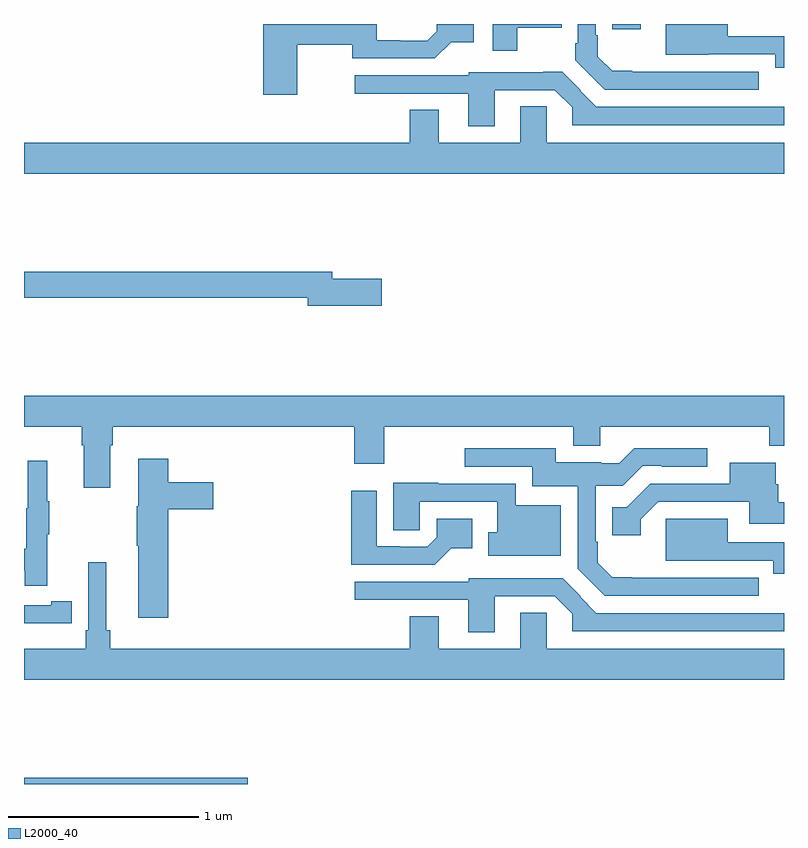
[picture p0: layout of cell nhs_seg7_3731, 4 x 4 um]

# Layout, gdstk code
import gdstk
lib = gdstk.Library(unit=1e-6, precision=1e-09)
def R(c, l, rs):  # rectangles x0, y0, x1, y1
    for r in rs: c.add(gdstk.rectangle(r[:2], r[2:], *l))
def P(c, l, *ps):  # polygons
    for p in ps: c.add(gdstk.Polygon(p, *l))
L2000_40 = (2000, 40)

nhs_seg7_3731 = lib.new_cell('nhs_seg7_3731')
R(nhs_seg7_3731, L2000_40, [(347,1068,348.178,1068.032), (350.095,1071.972,350.245,1072)])
P(nhs_seg7_3731, L2000_40, [(349.596,1071.98),(349.829,1071.98),(349.829,1072),(349.466,1072),(349.466,1071.858),(349.596,1071.858)],
  [(348.438,1071.892),(348.727,1071.892),(348.727,1071.819),(349.162,1071.819),(349.248,1071.905),(349.366,1071.905),(349.366,1072),(349.173,1072),(349.173,1071.963),(349.122,1071.912),(348.98,1071.912),(348.98,1071.915),(348.856,1071.915),(348.856,1072),(348.26,1072),(348.26,1071.627),(348.438,1071.627)],
  [(350.866,1071.75),(350.2,1071.75),(350.2,1071.753),(350.096,1071.753),(350.02,1071.828),(350.02,1071.94),(350.01,1071.94),(350.01,1072),(349.914,1072),(349.914,1071.898),(349.902,1071.898),(349.902,1071.809),(350.057,1071.654),(350.866,1071.654)],
  [(351,1071.936),(350.704,1071.936),(350.704,1072),(350.378,1072),(350.378,1071.839),(350.6,1071.839),(350.6,1071.84),(350.954,1071.84),(350.954,1071.77),(351,1071.77)],
  [(349.477,1071.651),(349.794,1071.651),(349.885,1071.561),(349.885,1071.468),(351,1071.468),(351,1071.564),(350.013,1071.564),(349.928,1071.649),(349.931,1071.652),(349.833,1071.75),(349.733,1071.75),(349.733,1071.747),(349.341,1071.747),(349.341,1071.729),(348.741,1071.729),(348.741,1071.633),(349.337,1071.633),(349.337,1071.462),(349.477,1071.462)],
  [(351,1071.376),(349.752,1071.376),(349.752,1071.566),(349.613,1071.566),(349.613,1071.376),(349.183,1071.376),(349.183,1071.548),(349.031,1071.548),(349.031,1071.376),(347,1071.376),(347,1071.212),(351,1071.212)],
  [(348.883,1070.66),(348.622,1070.66),(348.622,1070.696),(347,1070.696),(347,1070.56),(348.494,1070.56),(348.494,1070.518),(348.883,1070.518)],
  [(347.455,1069.784),(347.468,1069.784),(347.468,1069.88),(348.737,1069.88),(348.737,1069.686),(348.897,1069.686),(348.897,1069.88),(349.892,1069.88),(349.892,1069.781),(350.032,1069.781),(350.032,1069.88),(350.923,1069.88),(350.923,1069.781),(351,1069.781),(351,1070.044),(347,1070.044),(347,1069.88),(347.303,1069.88),(347.303,1069.784),(347.315,1069.784),(347.315,1069.56),(347.455,1069.56)],
  [(350.866,1069.086),(350.2,1069.086),(350.2,1069.089),(350.096,1069.089),(350.02,1069.164),(350.02,1069.276),(350.01,1069.276),(350.01,1069.569),(350.151,1069.569),(350.256,1069.674),(350.356,1069.674),(350.356,1069.671),(350.596,1069.671),(350.596,1069.768),(350.212,1069.768),(350.133,1069.689),(350.039,1069.689),(350.039,1069.693),(349.798,1069.693),(349.798,1069.767),(349.32,1069.767),(349.32,1069.671),(349.676,1069.671),(349.676,1069.568),(349.914,1069.568),(349.914,1069.133),(350.057,1068.99),(350.866,1068.99)],
  [(347.759,1069.445),(347.995,1069.445),(347.995,1069.587),(347.759,1069.587),(347.759,1069.711),(347.6,1069.711),(347.6,1069.461),(347.593,1069.461),(347.593,1069.255),(347.6,1069.255),(347.6,1068.876),(347.759,1068.876)],
  [(347.123,1069.315),(347.134,1069.315),(347.134,1069.489),(347.123,1069.489),(347.123,1069.702),(347.02,1069.702),(347.02,1069.452),(347.013,1069.452),(347.013,1069.238),(347,1069.238),(347,1069.122),(347.005,1069.122),(347.005,1069.044),(347.123,1069.044)],
  [(350.245,1069.393),(350.337,1069.485),(350.816,1069.485),(350.816,1069.37),(351,1069.37),(351,1069.484),(350.969,1069.484),(350.969,1069.578),(350.956,1069.578),(350.956,1069.69),(350.714,1069.69),(350.714,1069.581),(350.297,1069.581),(350.172,1069.456),(350.095,1069.456),(350.095,1069.308),(350.245,1069.308)],
  [(349.825,1069.468),(349.587,1069.468),(349.587,1069.581),(349.18,1069.581),(349.18,1069.586),(348.944,1069.586),(348.944,1069.336),(349.083,1069.336),(349.083,1069.485),(349.49,1069.485),(349.49,1069.324),(349.444,1069.324),(349.444,1069.202),(349.825,1069.202)],
  [(349.248,1069.241),(349.359,1069.241),(349.359,1069.396),(349.173,1069.396),(349.173,1069.299),(349.122,1069.248),(348.98,1069.248),(348.98,1069.251),(348.856,1069.251),(348.856,1069.543),(348.722,1069.543),(348.722,1069.155),(349.162,1069.155)],
  [(351,1069.272),(350.704,1069.272),(350.704,1069.396),(350.378,1069.396),(350.378,1069.175),(350.6,1069.175),(350.6,1069.176),(350.944,1069.176),(350.944,1069.107),(351,1069.107)],
  [(351,1068.712),(349.752,1068.712),(349.752,1068.902),(349.613,1068.902),(349.613,1068.712),(349.183,1068.712),(349.183,1068.884),(349.031,1068.884),(349.031,1068.712),(347.453,1068.712),(347.453,1068.808),(347.434,1068.808),(347.434,1069.168),(347.337,1069.168),(347.337,1068.808),(347.324,1068.808),(347.324,1068.712),(347,1068.712),(347,1068.548),(351,1068.548)],
  [(349.477,1068.987),(349.794,1068.987),(349.885,1068.897),(349.885,1068.804),(351,1068.804),(351,1068.9),(350.013,1068.9),(349.928,1068.985),(349.931,1068.988),(349.836,1069.083),(349.341,1069.083),(349.341,1069.065),(348.741,1069.065),(348.741,1068.969),(349.337,1068.969),(349.337,1068.798),(349.477,1068.798)],
  [(347.144,1068.846),(347.252,1068.846),(347.252,1068.962),(347.144,1068.962),(347.144,1068.942),(347,1068.942),(347,1068.845),(347.144,1068.845)])

lib.write_gds('nhs_seg7_3731.gds')
